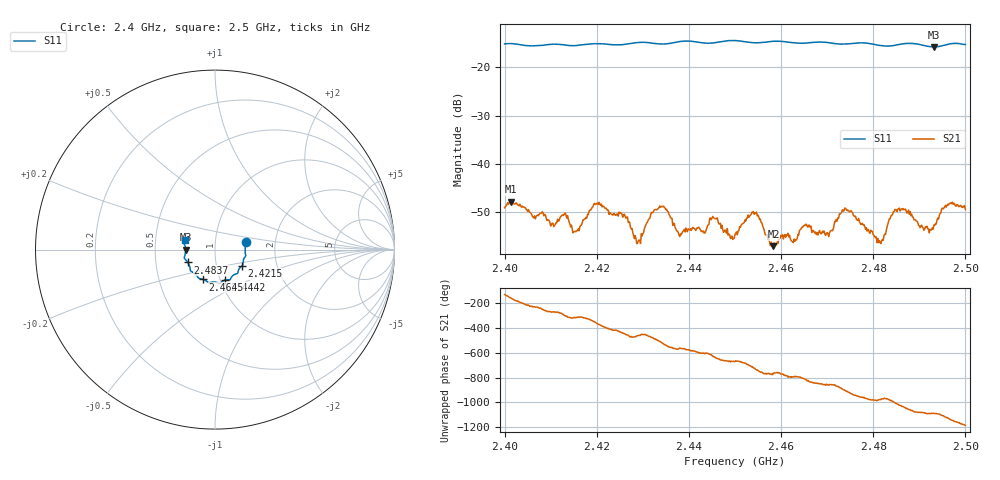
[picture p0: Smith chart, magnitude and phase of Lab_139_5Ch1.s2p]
# Hz S RI R 50
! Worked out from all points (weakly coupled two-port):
!   601 points, 2.4 GHz to 2.5 GHz, reference 50 ohm
!   highest |S21| = -47.90 dB at 2.4013 GHz (marker M1); lowest = -57.2 dB at 2.4583 GHz (marker M2)
!   lowest |S11| = -15.7 dB at 2.4932 GHz (marker M3), VSWR 1.39, Z = 35.9 - j0.0491 ohm
!   |S11| at or under -10 dB: start of sweep to end of sweep
!   S12 and S22 are empty: the file has one direction only
!   S11 on the Smith chart (normalised r, x): 2.4 GHz: 1.41, +0.12; 2.4215 GHz: 1.33, -0.25; 2.4442 GHz: 1.05, -0.37; 2.4645 GHz: 0.83, -0.29; 2.4837 GHz: 0.73, -0.11; 2.5 GHz: 0.71, +0.08
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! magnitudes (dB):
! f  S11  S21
! 2.4 GHz  -15.1  -49.2
! 2.4013 GHz  -15.0  -47.9
! 2.4167 GHz  -15.3  -52.8
! 2.4215 GHz  -15.1  -48.9
! 2.4263 GHz  -15.2  -51.4
! 2.429 GHz  -14.8  -56.1
! 2.4333 GHz  -15.1  -49.3
! 2.438 GHz  -14.6  -55.2
! 2.4442 GHz  -15.0  -52.8
! 2.45 GHz  -14.4  -54.7
! 2.4542 GHz  -14.9  -50.5
! 2.4583 GHz  -14.5  -57.2
! 2.4645 GHz  -15.0  -53.3
! 2.4667 GHz  -14.8  -54.3
! 2.4702 GHz  -14.8  -54.6
! 2.4742 GHz  -15.1  -49.6
! 2.4813 GHz  -15.4  -56.0
! 2.4833 GHz  -15.6  -52.0
! 2.4837 GHz  -15.5  -51.5
! 2.4932 GHz  -15.7  -52.8
! 2.4962 GHz  -15.2  -48.5
! 2.5 GHz  -15.2  -49.5
